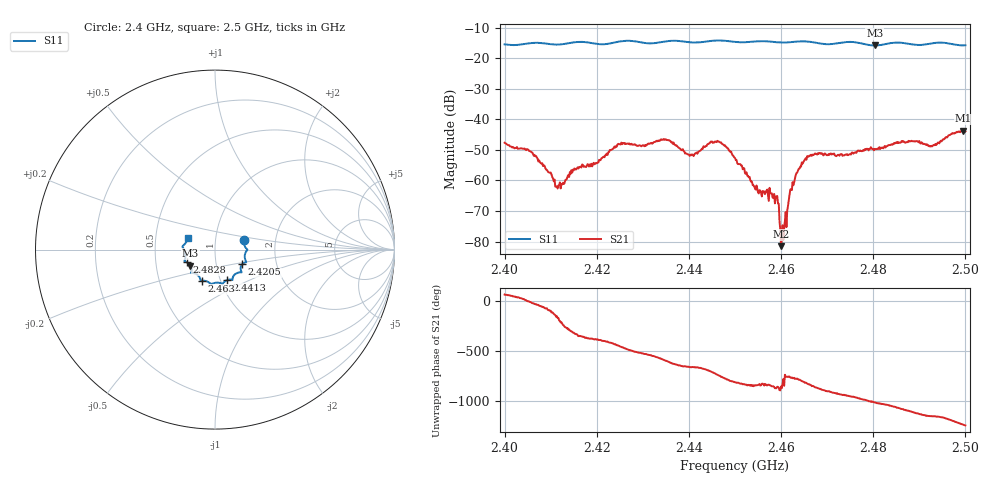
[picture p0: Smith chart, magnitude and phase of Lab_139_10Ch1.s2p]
# Hz S RI R 50
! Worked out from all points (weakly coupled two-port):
!   601 points, 2.4 GHz to 2.5 GHz, reference 50 ohm
!   highest |S21| = -43.67 dB at 2.4995 GHz (marker M1); lowest = -81.5 dB at 2.46 GHz (marker M2)
!   lowest |S11| = -15.7 dB at 2.4803 GHz (marker M3), VSWR 1.39, Z = 37.4 - j6.82 ohm
!   |S11| at or under -10 dB: start of sweep to end of sweep
!   S12 and S22 are empty: the file has one direction only
!   S11 on the Smith chart (normalised r, x): 2.4 GHz: 1.38, +0.15; 2.4205 GHz: 1.34, -0.22; 2.4413 GHz: 1.08, -0.38; 2.463 GHz: 0.82, -0.29; 2.4828 GHz: 0.72, -0.10; 2.5 GHz: 0.73, +0.10
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2.4e9  0.1623 0.0522  0.00191 0.0037  0 0  0 0
2.4055e9  0.178 0.00228  0.00296 -0.000618  0 0  0 0
2.411667e9  0.166 -0.0325  -0.000817 -0.000129  0 0  0 0
2.416667e9  0.1736 -0.0694  0.00163 0.00012  0 0  0 0
2.4205e9  0.1516 -0.0808  0.00186 -0.00114  0 0  0 0
2.425e9  0.1465 -0.1216  -0.000295 -0.00392  0 0  0 0
2.433333e9  0.1002 -0.1517  -0.00399 0.00213  0 0  0 0
2.441333e9  0.0673 -0.1696  0.00147 0.00235  0 0  0 0
2.446167e9  0.0418 -0.1928  0.00426 -0.00136  0 0  0 0
2.45e9  0.0246 -0.1854  -0.000141 -0.00233  0 0  0 0
2.454667e9  -0.0147 -0.1904  -0.000465 -0.000684  0 0  0 0
2.459e9  -0.0376 -0.1807  -0.000478 -0.00024  0 0  0 0
2.46e9  -0.0463 -0.1767  -5.86e-05 -5.99e-05  0 0  0 0
2.460667e9  -0.0527 -0.1748  -0.000102 -0.000129  0 0  0 0
2.463e9  -0.0723 -0.1736  0.000542 -0.000929  0 0  0 0
2.466667e9  -0.0812 -0.1673  -0.0017 -0.00188  0 0  0 0
2.480333e9  -0.1371 -0.0887  0.00136 0.003  0 0  0 0
2.482833e9  -0.1586 -0.0703  0.00269 0.00242  0 0  0 0
2.483333e9  -0.1625 -0.0685  0.00301 0.00236  0 0  0 0
2.492667e9  -0.1765 0.0074  0.00114 -0.00352  0 0  0 0
2.4995e9  -0.1538 0.0567  -0.00602 -0.00258  0 0  0 0
2.5e9  -0.1518 0.0641  -0.00613 -0.00167  0 0  0 0
